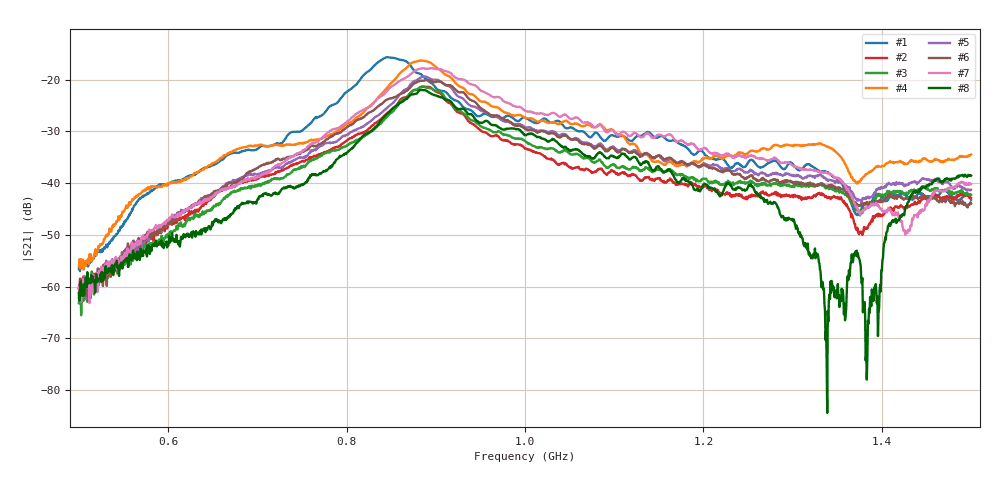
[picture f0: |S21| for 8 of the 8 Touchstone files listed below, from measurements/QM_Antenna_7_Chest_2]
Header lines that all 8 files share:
!Agilent Technologies,E8364B,US42250235,A.06.04.32
!Agilent E8364B: A.06.04.32
!Correction: S11(Full 2 Port(1,2)) S21(Full 2 Port(1,2)) S12(Full 2 Port(1,2)) S22(Full 2 Port(1,2))
!S2P File: Measurements: S11, S21, S12, S22:
# Hz S  dB  R 50
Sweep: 500 MHz to 1.5 GHz
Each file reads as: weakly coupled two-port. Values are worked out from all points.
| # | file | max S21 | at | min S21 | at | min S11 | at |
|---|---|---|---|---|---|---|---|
| 1 | 0_4.s2p | -15.69 dB | 846.2 MHz | -57.0 dB | 501.1 MHz | -33.9 dB | 1.147 GHz |
| 2 | 1_4.s2p | -21.39 dB | 886.9 MHz | -62.5 dB | 511.2 MHz | -28.2 dB | 1.123 GHz |
| 3 | 1_5.s2p | -21.31 dB | 885 MHz | -65.5 dB | 502.5 MHz | -37.6 dB | 1.096 GHz |
| 4 | 2_1.s2p | -16.31 dB | 883.8 MHz | -56.7 dB | 505 MHz | -38.1 dB | 1.144 GHz |
| 5 | 2_5.s2p | -19.39 dB | 886.2 MHz | -62.9 dB | 500.6 MHz | -48.7 dB | 877.5 MHz |
| 6 | 3_6.s2p | -20.08 dB | 890.6 MHz | -62.8 dB | 511.2 MHz | -35.2 dB | 1.121 GHz |
| 7 | 4_4.s2p | -17.80 dB | 894.4 MHz | -63.2 dB | 511.9 MHz | -36.4 dB | 1.173 GHz |
| 8 | 5_2.s2p | -21.99 dB | 882.5 MHz | -84.4 dB | 1.339 GHz | -58.8 dB | 1.031 GHz |
